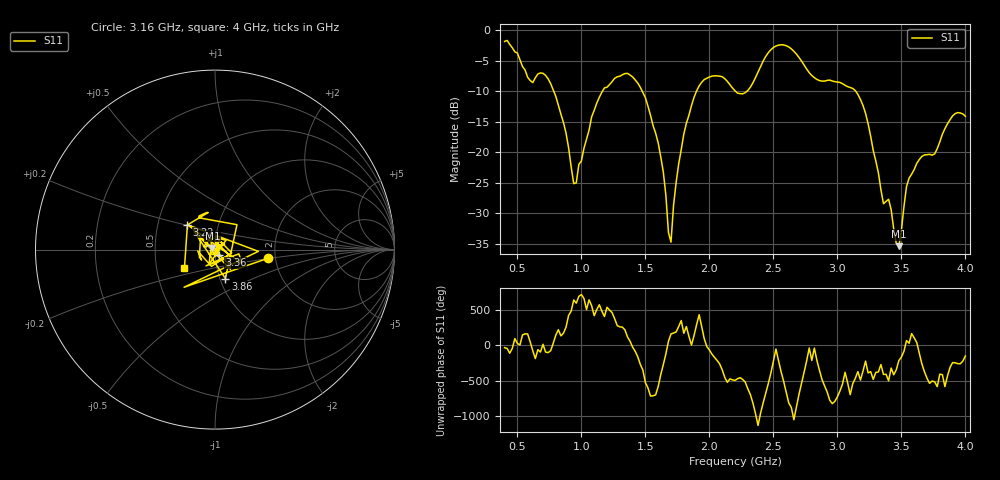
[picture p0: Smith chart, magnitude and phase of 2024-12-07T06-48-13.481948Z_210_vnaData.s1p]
!Created with skrf (http://scikit-rf.org).
# Hz S RI R 50.0
!freq ReS11 ImS11
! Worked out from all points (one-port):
!   181 points, 400 MHz to 4 GHz, reference 50 ohm
!   lowest |S11| = -35.4 dB at 3.48 GHz (marker M1), VSWR 1.03, Z = 48.6 + j0.932 ohm
!   |S11| at or under -10 dB: 784.3 MHz to 1.164 GHz (379.6 MHz wide, 39 % of centre); 1.476 GHz to 1.899 GHz (423 MHz wide, 25.1 % of centre); 3.144 GHz to end of sweep (the widest 3 of 4)
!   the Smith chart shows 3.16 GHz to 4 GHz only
!   S11 on the Smith chart (normalised r, x): 3.16 GHz: 1.82, -0.19; 3.22 GHz: 0.71, +0.21; 3.36 GHz: 1.05, -0.06; 3.86 GHz: 1.06, -0.35; 4 GHz: 0.70, -0.15
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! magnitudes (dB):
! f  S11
! 400 MHz  -1.8
! 600 MHz  -8.2
! 740 MHz  -7.9
! 860 MHz  -15.1
! 940 MHz  -25.2
! 960 MHz  -25.0
! 1.12 GHz  -11.9
! 1.3 GHz  -7.5
! 1.5 GHz  -11.0
! 1.62 GHz  -20.8
! 1.7 GHz  -34.8
! 1.76 GHz  -21.9
! 1.82 GHz  -15.2
! 1.94 GHz  -8.5
! 2.2 GHz  -9.9
! 2.3 GHz  -9.9
! 2.5 GHz  -2.8
! 2.66 GHz  -3.4
! 2.84 GHz  -8.0
! 3.1 GHz  -9.4
! 3.16 GHz  -10.5
! 3.22 GHz  -13.6
! 3.36 GHz  -28.5
! 3.4 GHz  -27.7
! 3.48 GHz  -35.4
! 3.56 GHz  -24.3
! 3.86 GHz  -15.3
! 4 GHz  -14.1
